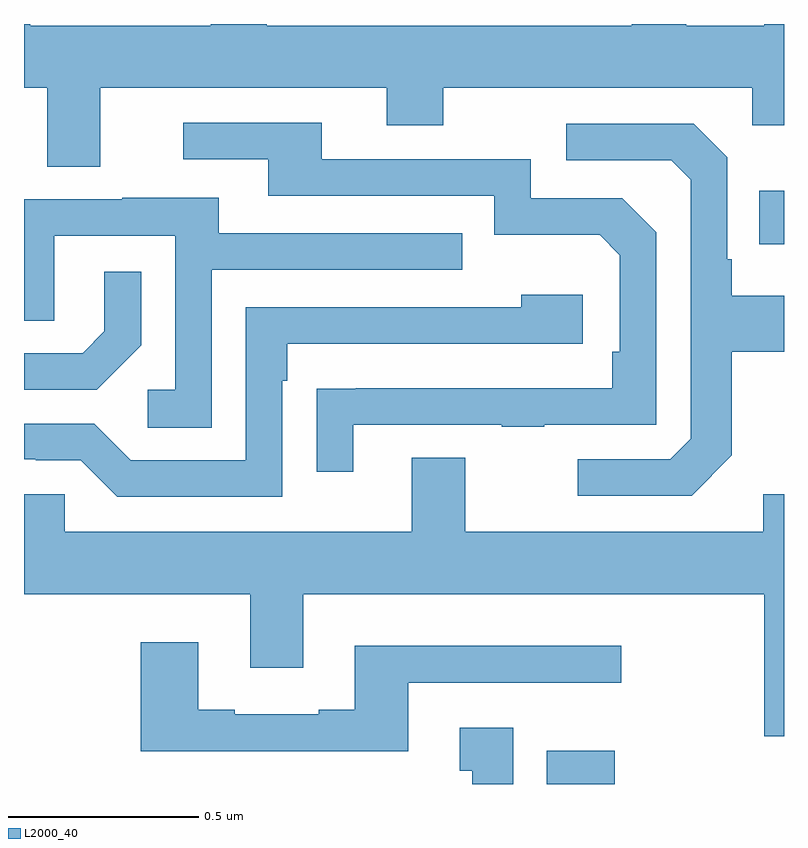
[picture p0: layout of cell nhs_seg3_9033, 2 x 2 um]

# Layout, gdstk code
import gdstk
lib = gdstk.Library(unit=1e-6, precision=1e-09)
def R(c, l, rs):  # rectangles x0, y0, x1, y1
    for r in rs: c.add(gdstk.rectangle(r[:2], r[2:], *l))
def P(c, l, *ps):  # polygons
    for p in ps: c.add(gdstk.Polygon(p, *l))
L2000_40 = (2000, 40)

nhs_seg3_9033 = lib.new_cell('nhs_seg3_9033')
R(nhs_seg3_9033, L2000_40, [(224.375,716.4,224.554,716.488), (224.935,717.821,225,717.961)])
P(nhs_seg3_9033, L2000_40, [(223.201,718.232),(223.955,718.232),(223.955,718.133),(224.103,718.133),(224.103,718.232),(224.916,718.232),(224.916,718.133),(225,718.133),(225,718.4),(224.948,718.4),(224.948,718.396),(224.743,718.396),(224.743,718.4),(224.599,718.4),(224.599,718.396),(223.639,718.396),(223.639,718.4),(223.492,718.4),(223.492,718.396),(223.017,718.396),(223.017,718.4),(223,718.4),(223,718.232),(223.061,718.232),(223.061,718.024),(223.201,718.024)],
  [(223.867,717.345),(224.257,717.345),(224.257,717.34),(224.369,717.34),(224.369,717.345),(224.664,717.345),(224.664,717.852),(224.574,717.942),(224.334,717.942),(224.334,718.044),(223.783,718.044),(223.783,718.14),(223.419,718.14),(223.419,718.044),(223.643,718.044),(223.643,717.948),(224.238,717.948),(224.238,717.845),(224.515,717.845),(224.568,717.792),(224.568,717.538),(224.548,717.538),(224.548,717.441),(223.873,717.441),(223.873,717.44),(223.771,717.44),(223.771,717.222),(223.867,717.222)],
  [(224.863,717.265),(224.863,717.538),(225,717.538),(225,717.685),(224.863,717.685),(224.863,717.781),(224.85,717.781),(224.85,718.05),(224.763,718.137),(224.427,718.137),(224.427,718.041),(224.703,718.041),(224.754,717.99),(224.754,717.309),(224.7,717.255),(224.457,717.255),(224.457,717.159),(224.757,717.159)],
  [(223.494,717.753),(224.153,717.753),(224.153,717.849),(223.513,717.849),(223.513,717.943),(223.259,717.943),(223.259,717.939),(223,717.939),(223,717.619),(223.08,717.619),(223.08,717.843),(223.398,717.843),(223.398,717.438),(223.326,717.438),(223.326,717.337),(223.494,717.337)],
  [(223.308,717.554),(223.308,717.748),(223.211,717.748),(223.211,717.591),(223.154,717.534),(223,717.534),(223,717.438),(223.192,717.438)],
  [(223.68,717.461),(223.693,717.461),(223.693,717.558),(224.47,717.558),(224.47,717.688),(224.309,717.688),(224.309,717.654),(223.584,717.654),(223.584,717.252),(223.281,717.252),(223.185,717.348),(223,717.348),(223,717.255),(223.031,717.255),(223.031,717.252),(223.149,717.252),(223.245,717.156),(223.68,717.156)],
  [(223.107,717.162),(223,717.162),(223,716.9),(223.595,716.9),(223.595,716.706),(223.735,716.706),(223.735,716.9),(224.948,716.9),(224.948,716.526),(225,716.526),(225,717.163),(224.945,717.163),(224.945,717.064),(224.161,717.064),(224.161,717.259),(224.021,717.259),(224.021,717.064),(223.107,717.064)],
  [(224.011,716.667),(224.572,716.667),(224.572,716.764),(223.871,716.764),(223.871,716.596),(223.775,716.596),(223.775,716.583),(223.555,716.583),(223.555,716.596),(223.459,716.596),(223.459,716.773),(223.307,716.773),(223.307,716.486),(224.011,716.486)],
  [(224.287,716.548),(224.147,716.548),(224.147,716.435),(224.18,716.435),(224.18,716.4),(224.287,716.4)])

lib.write_gds('nhs_seg3_9033.gds')
